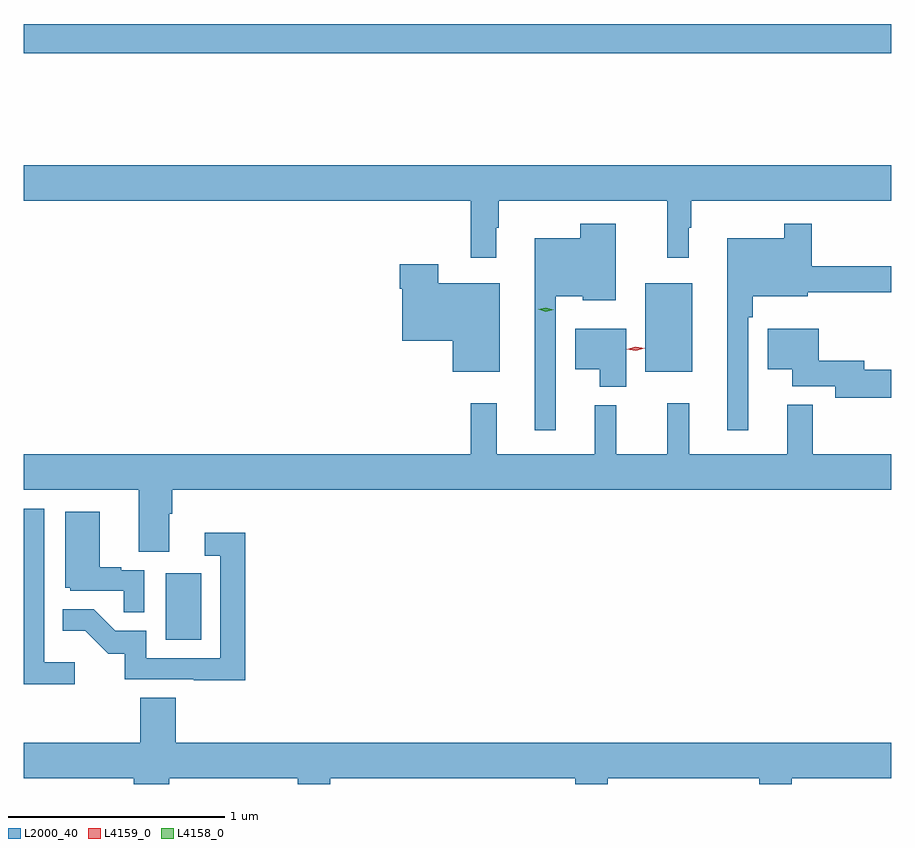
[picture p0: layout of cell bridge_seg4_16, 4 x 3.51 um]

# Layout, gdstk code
import gdstk
lib = gdstk.Library(unit=1e-6, precision=1e-09)
def R(c, l, rs):  # rectangles x0, y0, x1, y1
    for r in rs: c.add(gdstk.rectangle(r[:2], r[2:], *l))
def P(c, l, *ps):  # polygons
    for p in ps: c.add(gdstk.Polygon(p, *l))
L2000_40 = (2000, 40)
L4158_0 = (4158, 0)
L4159_0 = (4159, 0)

bridge_seg4_16 = lib.new_cell('bridge_seg4_16')
R(bridge_seg4_16, L2000_40, [(1090.658,789.468,1090.822,789.775), (1092.872,790.703,1093.087,791.113), (1090.005,792.172,1094.005,792.308)])
P(bridge_seg4_16, L2000_40, [(1092.184,791.369),(1092.196,791.369),(1092.196,791.492),(1092.973,791.492),(1092.973,791.229),(1093.072,791.229),(1093.072,791.369),(1093.084,791.369),(1093.084,791.492),(1094.005,791.492),(1094.005,791.656),(1090.005,791.656),(1090.005,791.492),(1092.067,791.492),(1092.067,791.229),(1092.184,791.229)],
  [(1092.459,791.051),(1092.582,791.051),(1092.582,791.033),(1092.736,791.033),(1092.736,791.386),(1092.571,791.386),(1092.571,791.32),(1092.362,791.32),(1092.362,790.434),(1092.459,790.434)],
  [(1093.347,790.955),(1093.367,790.955),(1093.367,791.051),(1093.621,791.051),(1093.621,791.07),(1094.005,791.07),(1094.005,791.191),(1093.64,791.191),(1093.64,791.386),(1093.512,791.386),(1093.512,791.32),(1093.25,791.32),(1093.25,790.434),(1093.347,790.434)],
  [(1092.199,791.113),(1091.916,791.113),(1091.916,791.2),(1091.738,791.2),(1091.738,791.087),(1091.75,791.087),(1091.75,790.847),(1091.984,790.847),(1091.984,790.703),(1092.199,790.703)],
  [(1094.005,790.713),(1093.882,790.713),(1093.882,790.755),(1093.672,790.755),(1093.672,790.903),(1093.436,790.903),(1093.436,790.715),(1093.55,790.715),(1093.55,790.637),(1093.748,790.637),(1093.748,790.583),(1094.005,790.583)],
  [(1092.784,790.903),(1092.548,790.903),(1092.548,790.715),(1092.662,790.715),(1092.662,790.634),(1092.784,790.634)],
  [(1090.675,790.048),(1090.688,790.048),(1090.688,790.16),(1094.005,790.16),(1094.005,790.324),(1093.643,790.324),(1093.643,790.552),(1093.526,790.552),(1093.526,790.324),(1093.073,790.324),(1093.073,790.558),(1092.973,790.558),(1092.973,790.324),(1092.738,790.324),(1092.738,790.549),(1092.638,790.549),(1092.638,790.324),(1092.185,790.324),(1092.185,790.558),(1092.067,790.558),(1092.067,790.324),(1090.005,790.324),(1090.005,790.16),(1090.535,790.16),(1090.535,789.874),(1090.675,789.874)],
  [(1090.24,789.364),(1090.098,789.364),(1090.098,790.072),(1090.005,790.072),(1090.005,789.262),(1090.24,789.262)],
  [(1090.56,789.789),(1090.454,789.789),(1090.454,789.802),(1090.354,789.802),(1090.354,790.057),(1090.196,790.057),(1090.196,789.708),(1090.218,789.708),(1090.218,789.693),(1090.465,789.693),(1090.465,789.595),(1090.56,789.595)],
  [(1091.027,789.961),(1090.839,789.961),(1090.839,789.855),(1090.911,789.855),(1090.911,789.381),(1090.569,789.381),(1090.569,789.51),(1090.425,789.51),(1090.327,789.608),(1090.183,789.608),(1090.183,789.509),(1090.287,789.509),(1090.394,789.402),(1090.471,789.402),(1090.471,789.285),(1090.789,789.285),(1090.789,789.28),(1091.027,789.28)],
  [(1090.676,788.828),(1091.267,788.828),(1091.267,788.802),(1091.418,788.802),(1091.418,788.828),(1092.549,788.828),(1092.549,788.802),(1092.699,788.802),(1092.699,788.828),(1093.397,788.828),(1093.397,788.802),(1093.548,788.802),(1093.548,788.828),(1094.005,788.828),(1094.005,788.992),(1090.706,788.992),(1090.706,789.2),(1090.541,789.2),(1090.541,788.992),(1090.005,788.992),(1090.005,788.828),(1090.511,788.828),(1090.511,788.802),(1090.676,788.802)])
P(bridge_seg4_16, L4158_0, [(1092.412,790.98),(1092.377,790.992),(1092.377,790.992),(1092.377,790.992),(1092.413,791),(1092.448,790.989),(1092.449,790.989),(1092.448,790.989)])
P(bridge_seg4_16, L4159_0, [(1092.828,790.8),(1092.786,790.807),(1092.786,790.808),(1092.786,790.808),(1092.827,790.82),(1092.868,790.812),(1092.868,790.812),(1092.868,790.812)])

lib.write_gds('bridge_seg4_16.gds')
